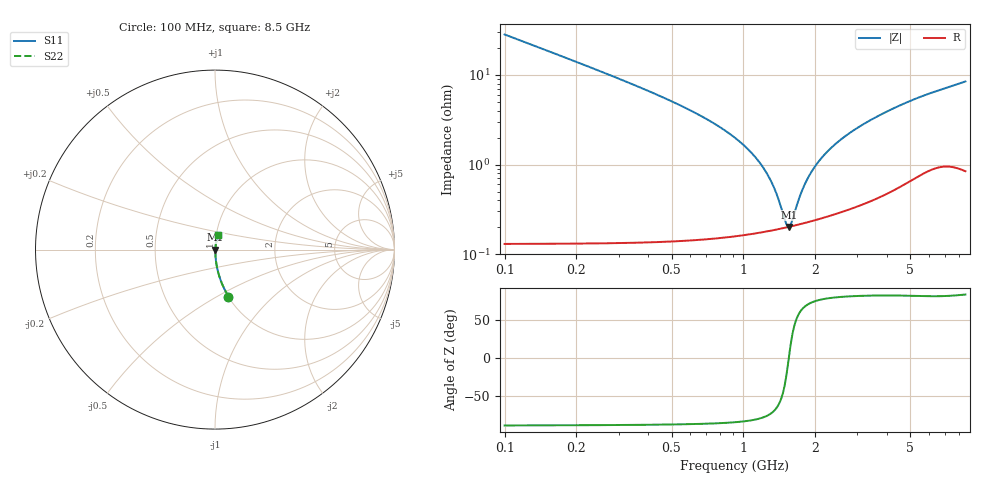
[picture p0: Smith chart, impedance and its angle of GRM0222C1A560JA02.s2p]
!Murata Part Number: GRM0222C1A560JA02
!These Parameters are Measured in Series Mode Connection
!Data Generated on Mar 30, 2021
!  o--ll--o
!Port1  Port2
!  o------o
!Operation Temp=25[degC], DC Bias Voltage=0[V]
!Freq. Start=100[MHz] Stop=9[GHz] 401[Steps]
# Hz S RI R 50
!Freq.(Hz) S11(Real) S11(Imag) S21(Real) S21(Imag) S12(Real) S12(Imag) S22(Real) S22(Imag)
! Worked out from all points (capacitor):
!   401 points, 100 MHz to 8.5 GHz, reference 50 ohm
!   read as one part in series: C = 56 pF near 142 MHz
!   lowest |Z| = 201 mohm at 1.549 GHz (marker M1)
!   series resonance near 1.549 GHz, so ESL is about 190 pH
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1e8  0.0752 -0.2614  0.9248 0.2614  0.9248 0.2614  0.0752 -0.2614
2.26e8  0.0162 -0.1209  0.9838 0.1209  0.9838 0.1209  0.0162 -0.1209
3.73e8  0.00644 -0.0712  0.9936 0.0712  0.9936 0.0712  0.00644 -0.0712
5.62e8  0.00331 -0.0436  0.9967 0.0436  0.9967 0.0436  0.00331 -0.0436
1.024e9  0.00188 -0.0155  0.9981 0.0155  0.9981 0.0155  0.00188 -0.0155
1.213e9  0.00184 -0.00896  0.9982 0.00896  0.9982 0.00896  0.00184 -0.00896
1.339e9  0.00188 -0.0053  0.9981 0.0053  0.9981 0.0053  0.00188 -0.0053
1.507e9  0.00198 -0.000992  0.998 0.000992  0.998 0.000992  0.00198 -0.000992
1.549e9  0.00201 2.7e-06  0.998 -2.7e-06  0.998 -2.7e-06  0.00201 2.7e-06
1.591e9  0.00204 0.00097  0.998 -0.00097  0.998 -0.00097  0.00204 0.00097
1.717e9  0.00216 0.00372  0.9978 -0.00372  0.9978 -0.00372  0.00216 0.00372
1.801e9  0.00225 0.00546  0.9978 -0.00546  0.9978 -0.00546  0.00225 0.00546
1.906e9  0.00236 0.00752  0.9976 -0.00752  0.9976 -0.00752  0.00236 0.00752
2.032e9  0.00252 0.00988  0.9975 -0.00988  0.9975 -0.00988  0.00252 0.00988
2.2e9  0.00274 0.0128  0.9973 -0.0128  0.9973 -0.0128  0.00274 0.0128
2.389e9  0.00301 0.016  0.997 -0.016  0.997 -0.016  0.00301 0.016
2.914e9  0.00387 0.024  0.9961 -0.024  0.9961 -0.024  0.00387 0.024
3.523e9  0.00508 0.0324  0.9949 -0.0324  0.9949 -0.0324  0.00508 0.0324
4.3e9  0.00698 0.0422  0.993 -0.0422  0.993 -0.0422  0.00698 0.0422
5.707e9  0.0113 0.0574  0.9887 -0.0574  0.9887 -0.0574  0.0113 0.0574
7.114e9  0.0143 0.0697  0.9857 -0.0697  0.9857 -0.0697  0.0143 0.0697
8.5e9  0.0152 0.0823  0.9848 -0.0823  0.9848 -0.0823  0.0152 0.0823
